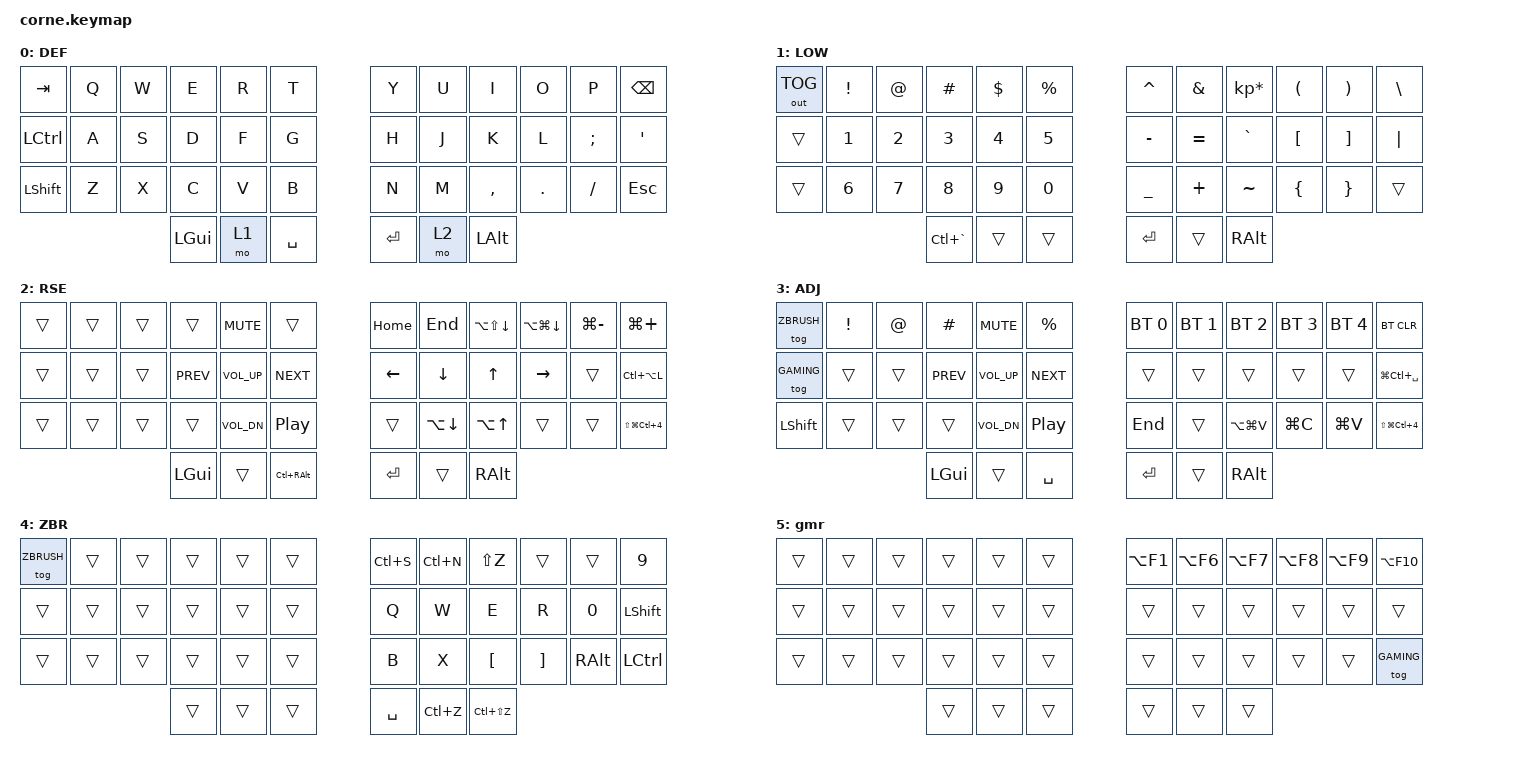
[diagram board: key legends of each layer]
/*
 * Copyright (c) 2020 The ZMK Contributors
 *
 * SPDX-License-Identifier: MIT
 */

#include <behaviors.dtsi>
#include <dt-bindings/zmk/keys.h>
#include <dt-bindings/zmk/bt.h>
#include <dt-bindings/zmk/outputs.h>

#define DEFAULT 0
#define LOWER 1
#define RAISE 2
#define ADJUST 3
#define ZBRUSH 4
#define GAMING 5

/ {
    conditional_layers {
        compatible = "zmk,conditional-layers";
        adjust_layer {
            if-layers = <1 2>;
            then-layer = <3>;
        };
    };
};
/ {
        keymap {
                compatible = "zmk,keymap";

                default_layer {
// -----------------------------------------------------------------------------------------
// |  TAB |  Q  |  W  |  E  |  R  |  T  |   |  Y  |  U   |  I  |  O  |  P  | BKSP |
// | CTRL |  A  |  S  |  D  |  F  |  G  |   |  H  |  J   |  K  |  L  |  ;  |  '   |
// | SHFT |  Z  |  X  |  C  |  V  |  B  |   |  N  |  M   |  ,  |  .  |  /  | ESC  |
//                    | GUI | LWR | SPC |   | ENT | RSE  | ALT |
                         display-name = "DEF";
                        bindings = <
   &kp TAB   &kp Q &kp W &kp E &kp R &kp T   &kp Y &kp U  &kp I     &kp O   &kp P    &kp BSPC
   &kp LCTRL &kp A &kp S &kp D &kp F &kp G   &kp H &kp J  &kp K     &kp L   &kp SEMI &kp SQT
   &kp LSHFT &kp Z &kp X &kp C &kp V &kp B   &kp N &kp M  &kp COMMA &kp DOT &kp FSLH &kp ESC
                  &kp LGUI &mo 1 &kp SPACE   &kp RET &mo 2 &kp LALT
                        >;
                };
                lower_layer {
// -----------------------------------------------------------------------------------------
// |  TAB |  !  |  @  |  #  |  $  |  %  |   |  ^  |  &  |  *  |  (  |  )  | \ |
// | CTRL | 1 | 2 | 3 | 4 | 5 |   | - | = |  ` | [ | ] | | |
// | SHFT | 6 | 7 | 8 | 9 | 0 |   | _ | + | ~ | { | } | ESC |
//                    | codeTRM | LWR | SPC |   | ENT | RSE | ALT |
                         display-name = "LOW";
                        bindings = <
  &out OUT_TOG    &kp EXCL     &kp AT       &kp HASH     &kp DLLR     &kp PRCNT      &kp CARET   &kp AMPS   &kp KP_MULTIPLY    &kp LPAR    &kp RPAR &kp BSLH
   &trans  &kp N1       &kp N2        &kp N3       &kp N4       &kp N5          &kp MINUS  &kp EQUAL    &kp GRAVE          &kp LBKT &kp RBKT &kp PIPE
   &trans  &kp N6       &kp N7        &kp N8       &kp N9       &kp N0         &kp UNDER  &kp PLUS   &kp TILDE          &kp LBRC   &kp RBRC  &trans
                    	                &kp LC(GRAVE)     &trans       &trans        &kp RET   &trans    &kp RALT
                        >;
                };

                raise_layer {
// -----------------------------------------------------------------------------------------
// |  TAB |  !  |  @  |  #  |  $  |  %  |   |  HOME  |  END  |  *  |  (  |  )  | BKSP |
// | CTRL |     |     |     |     |     |   |  -  |  =  |  [  |  ]  |  \  |  `   |
// | SHFT |     |     |     |     |     |   |  _  |  +  |  {  |  }  | "|" |  ~   |
//                    | GUI |     | SPC |   | ENT |     | ALT |
                          display-name = "RSE";
                        bindings = <
 &trans    &trans     &trans       &trans     &kp K_MUTE     &trans      &kp HOME   &kp END   &kp LA(LS(DOWN))   &kp LA(LG(DOWN))   &kp LG(MINUS) &kp LG(PLUS)
   &trans     &trans       &trans       &kp C_PREV       &kp C_VOL_UP       &kp C_NEXT         &kp LEFT  &kp DOWN   &kp UP    &kp RIGHT   &trans &kp LC(LA(L))
   &trans  &trans       &trans       &trans       &kp C_VOL_DN       &kp C_PP        &trans &kp LA(DOWN) &kp LA(UP) &trans    &trans &kp LS(LG(LC(N4)))
                          	       &kp LGUI        &trans       &kp LC(RALT)    &kp RET  &trans   &kp RALT
                        >;
                };     
                 adjust_layer {
// -----------------------------------------------------------------------------------------
// |  ZBRUSH |  !  |  @  |  #  |  MUTE  |  %  |   |  ^  |  &  |  *  |  (  |  )  | BKSP |
// | TRANS  | TRANS   | TRANS  | PREV   | VOLUP  | NEXT   |   |  TRANS  |  TRANS  |  TRANS  |  TRANS  | TRANS  |  EMOJI   |
// | SHFT |  TRANS   |  TRANS   |  VOLDN   | TRANS    | HOME  |   |  END  |  TRANS  |  PASTEFOLDER  |  COPY  | PASTE |  SCREENCAP   |
//                    | GUI |  TRANS | SPACE |   | ENT |  TRANS | ALT |
                        display-name
                         = "ADJ";
                        bindings = <
 &tog ZBRUSH    &kp EXCL     &kp AT       &kp HASH     &kp K_MUTE     &kp PRCNT      &bt BT_SEL 0   &bt BT_SEL 1   &bt BT_SEL 2    &bt BT_SEL 3    &bt BT_SEL 4 &bt BT_CLR
   &tog GAMING     &trans       &trans       &kp C_PREV       &kp C_VOL_UP       &kp C_NEXT         &trans   &trans   &trans    &trans    &trans &kp LG(LC(SPACE))
   &kp LSHFT  &trans       &trans       &trans       &kp C_VOL_DN       &kp C_PP        &kp END &trans &kp LA(LG(V)) &kp LG(C)    &kp LG(V) &kp LS(LG(LC(N4)))
                          	       &kp LGUI        &trans       &kp SPACE    &kp RET  &trans   &kp RALT
                        >;
                };       
                 zbrush_layer {
// -----------------------------------------------------------------------------------------
// |  ZBRUSH |  TRANS  |  TRANS  |  TRANS  |  TRANS  |  TRANS  |   |  SAVE  |  CLEARCAN  |  SPOTLIGHT  |  TRANS  |  TRANS  | QUICKSAVE |
// | TRANS  | TRANS   | TRANS   | TRANS   | TRANS   | TRANS   |   |  Q  |  W  |  E  |  R  |  0  |  SHIFT   |
// | TRANS |  TRANS   |  TRANS   |  TRANS   | TRANS    | TRANS  |   |  B  |  X  |  LBKT  |  RBKT  | ALT |  CTRL   |
//                    | TRANS |  TRANS | TRANS |   | SPACE |  UNDO | REDO |
                        display-name = "ZBR";
                        bindings = <
 &tog ZBRUSH    &trans     &trans       &trans     &trans     &trans      &kp LC(S)   &kp LC(N)   &kp LS(Z)    &trans    &trans &kp N9
   &trans     &trans       &trans       &trans       &trans       &trans         &kp Q   &kp W   &kp E    &kp R    &kp N0 &kp LSHFT
   &trans  &trans       &trans       &trans       &trans      &trans        &kp B &kp X  &kp LBKT  &kp RBKT &kp RALT    &kp LCTRL
                          	       &trans        &trans       &trans    &kp SPACE  &kp LC(Z)   &kp LC(LS(Z))
                        >;
                };      
                 gaming_layer {
// -----------------------------------------------------------------------------------------
// |  ZBRUSH |  TRANS  |  TRANS  |  TRANS  |  TRANS  |  TRANS  |   |  SAVE  |  CLEARCAN  |  SPOTLIGHT  |  TRANS  |  TRANS  | QUICKSAVE |
// | TRANS  | TRANS   | TRANS   | TRANS   | TRANS   | TRANS   |   |  Q  |  W  |  E  |  R  |  0  |  SHIFT   |
// | TRANS |  TRANS   |  TRANS   |  TRANS   | TRANS    | TRANS  |   |  B  |  X  |  LBKT  |  RBKT  | ALT |  CTRL   |
//                    | TRANS |  TRANS | TRANS |   | SPACE |  UNDO | REDO |
                        display-name = "gmr";
                        bindings = <
  &trans     &trans       &trans       &trans       &trans       &trans     &kp LA(F1)   &kp LA(F6)   &kp LA(F7)    &kp LA(F8)    &kp LA(F9) &kp LA(F10)
   &trans     &trans       &trans       &trans       &trans       &trans         &trans     &trans       &trans       &trans       &trans       &trans
    &trans     &trans       &trans       &trans       &trans       &trans        &trans     &trans       &trans       &trans       &trans       &tog GAMING
                          	       &trans        &trans       &trans    &trans        &trans       &trans 
                        >;
                };      
        };
}; 
